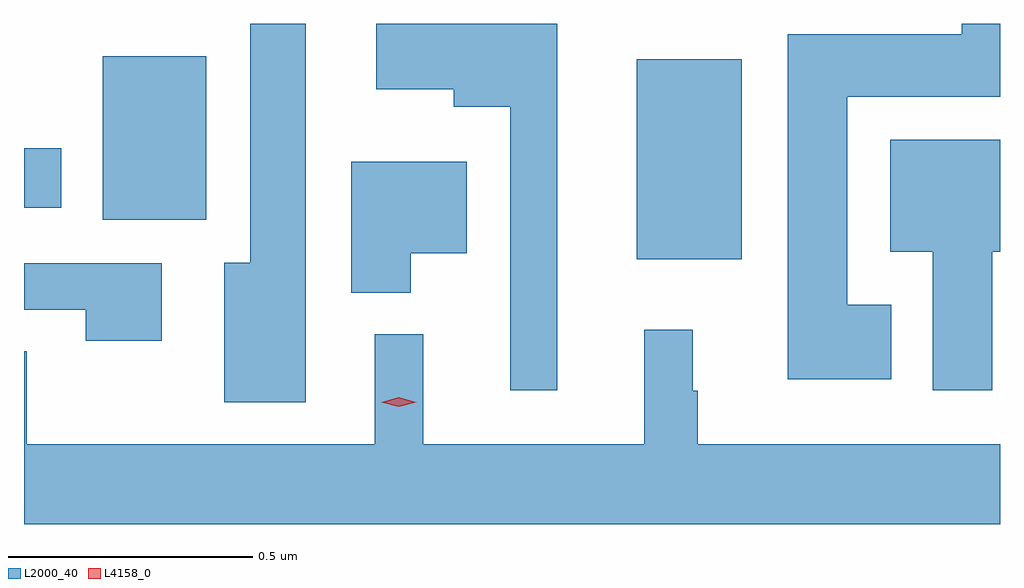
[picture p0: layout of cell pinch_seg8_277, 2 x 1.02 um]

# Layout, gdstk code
import gdstk
lib = gdstk.Library(unit=1e-6, precision=1e-09)
def R(c, l, rs):  # rectangles x0, y0, x1, y1
    for r in rs: c.add(gdstk.rectangle(r[:2], r[2:], *l))
def P(c, l, *ps):  # polygons
    for p in ps: c.add(gdstk.Polygon(p, *l))
L2000_40 = (2000, 40)
L4158_0 = (4158, 0)

pinch_seg8_277 = lib.new_cell('pinch_seg8_277')
R(pinch_seg8_277, L2000_40, [(515.369,1160.999,515.584,1161.409), (514.274,1161.08,514.486,1161.415), (514.113,1161.104,514.189,1161.226)])
P(pinch_seg8_277, L2000_40, [(514.69,1161.481),(514.577,1161.481),(514.577,1160.992),(514.523,1160.992),(514.523,1160.706),(514.69,1160.706)],
  [(515.89,1160.905),(515.8,1160.905),(515.8,1161.332),(516.113,1161.332),(516.113,1161.481),(516.035,1161.481),(516.035,1161.46),(515.678,1161.46),(515.678,1160.753),(515.89,1160.753)],
  [(515.206,1161.481),(514.835,1161.481),(514.835,1161.347),(514.994,1161.347),(514.994,1161.311),(515.109,1161.311),(515.109,1160.73),(515.206,1160.73)],
  [(516.097,1161.014),(516.113,1161.014),(516.113,1161.244),(515.888,1161.244),(515.888,1161.014),(515.975,1161.014),(515.975,1160.73),(516.097,1160.73)],
  [(514.906,1161.011),(515.02,1161.011),(515.02,1161.199),(514.784,1161.199),(514.784,1160.93),(514.906,1160.93)],
  [(514.395,1160.991),(514.113,1160.991),(514.113,1160.895),(514.24,1160.895),(514.24,1160.832),(514.395,1160.832)],
  [(516.113,1160.62),(515.494,1160.62),(515.494,1160.729),(515.483,1160.729),(515.483,1160.854),(515.384,1160.854),(515.384,1160.62),(514.931,1160.62),(514.931,1160.845),(514.832,1160.845),(514.832,1160.62),(514.119,1160.62),(514.119,1160.81),(514.113,1160.81),(514.113,1160.456),(516.113,1160.456)])
P(pinch_seg8_277, L4158_0, [(514.881,1160.696),(514.845,1160.706),(514.845,1160.706),(514.845,1160.706),(514.881,1160.716),(514.917,1160.706),(514.917,1160.706),(514.917,1160.706)])

lib.write_gds('pinch_seg8_277.gds')
